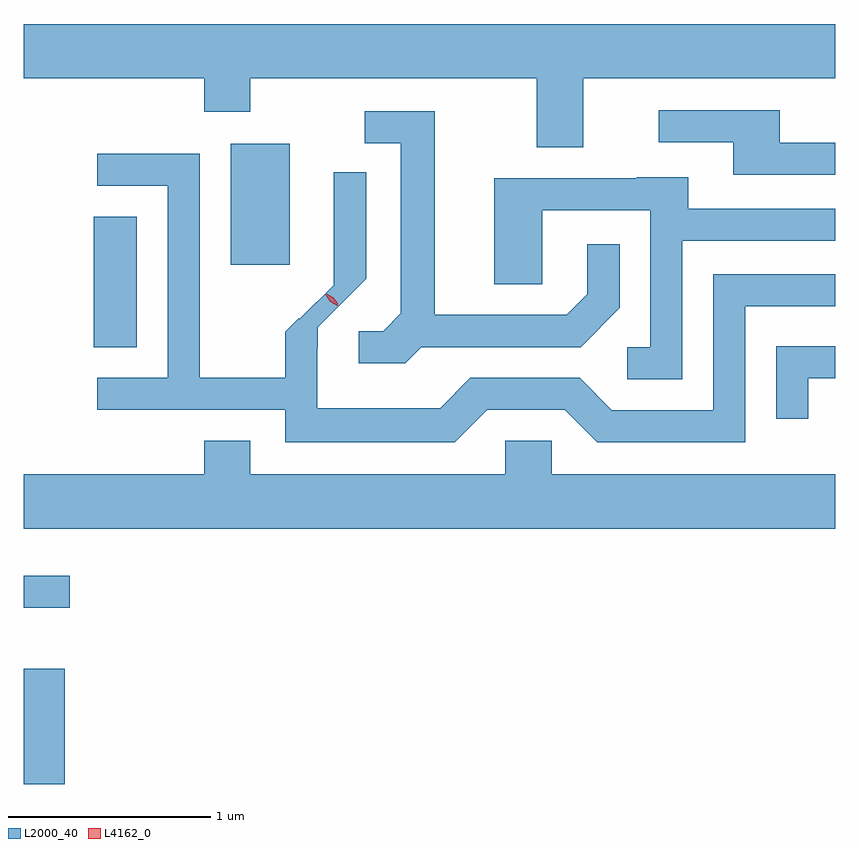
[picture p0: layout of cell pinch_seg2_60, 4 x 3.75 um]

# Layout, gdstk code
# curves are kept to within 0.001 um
import gdstk
lib = gdstk.Library(unit=1e-6, precision=1e-09)
def R(c, l, rs):  # rectangles x0, y0, x1, y1
    for r in rs: c.add(gdstk.rectangle(r[:2], r[2:], *l))
def P(c, l, *ps):  # polygons
    for p in ps: c.add(gdstk.Polygon(p, *l))
L2000_40 = (2000, 40)
L4162_0 = (4162, 0)

pinch_seg2_60 = lib.new_cell('pinch_seg2_60')
R(pinch_seg2_60, L2000_40, [(1125.522,1042.616,1125.724,1043.184), (1125.522,1043.486,1125.748,1043.644), (1125.866,1044.771,1126.079,1045.414), (1126.541,1045.176,1126.834,1045.774)])
P(pinch_seg2_60, L2000_40, [(1128.279,1046.096),(1129.522,1046.096),(1129.522,1046.364),(1125.522,1046.364),(1125.522,1046.096),(1126.411,1046.096),(1126.411,1045.931),(1126.639,1045.931),(1126.639,1046.096),(1128.051,1046.096),(1128.051,1045.756),(1128.279,1045.756)],
  [(1129.522,1045.779),(1129.249,1045.779),(1129.249,1045.939),(1128.653,1045.939),(1128.653,1045.781),(1129.021,1045.781),(1129.021,1045.621),(1129.522,1045.621)],
  [(1127.482,1044.771),(1128.267,1044.771),(1128.459,1044.964),(1128.459,1045.277),(1128.301,1045.277),(1128.301,1045.032),(1128.199,1044.929),(1127.549,1044.929),(1127.549,1045.934),(1127.203,1045.934),(1127.203,1045.776),(1127.381,1045.776),(1127.381,1044.937),(1127.294,1044.849),(1127.173,1044.849),(1127.173,1044.691),(1127.402,1044.691)],
  [(1127.807,1044.461),(1128.189,1044.461),(1128.349,1044.301),(1129.079,1044.301),(1129.079,1044.971),(1129.522,1044.971),(1129.522,1045.129),(1128.921,1045.129),(1128.921,1044.459),(1128.422,1044.459),(1128.262,1044.619),(1127.724,1044.619),(1127.574,1044.469),(1126.969,1044.469),(1126.97,1044.868),(1127.209,1045.107),(1127.209,1045.632),(1127.051,1045.632),(1127.051,1045.176),(1127.049,1045.176),(1127.049,1045.075),(1126.883,1044.91),(1126.878,1044.914),(1126.811,1044.847),(1126.811,1044.619),(1126.389,1044.619),(1126.389,1045.724),(1125.883,1045.724),(1125.883,1045.566),(1126.231,1045.566),(1126.231,1044.619),(1125.883,1044.619),(1125.883,1044.461),(1126.811,1044.461),(1126.811,1044.301),(1127.647,1044.301)],
  [(1128.769,1045.296),(1129.522,1045.296),(1129.522,1045.454),(1128.799,1045.454),(1128.799,1045.609),(1128.545,1045.609),(1128.545,1045.604),(1127.841,1045.604),(1127.841,1045.081),(1128.079,1045.081),(1128.079,1045.446),(1128.611,1045.446),(1128.611,1044.769),(1128.498,1044.769),(1128.498,1044.611),(1128.769,1044.611)],
  [(1129.389,1044.616),(1129.522,1044.616),(1129.522,1044.774),(1129.231,1044.774),(1129.231,1044.418),(1129.389,1044.418)],
  [(1129.522,1044.144),(1128.124,1044.144),(1128.124,1044.309),(1127.896,1044.309),(1127.896,1044.144),(1126.639,1044.144),(1126.639,1044.309),(1126.411,1044.309),(1126.411,1044.144),(1125.522,1044.144),(1125.522,1043.876),(1129.522,1043.876)])
P(pinch_seg2_60, L4162_0, [(1127.072,1044.973),(1127.033,1044.995),(1127.007,1045.032),(1127.007,1045.032),(1127.007,1045.032),(1127.046,1045.01),(1127.073,1044.973),(1127.073,1044.973)],
  [(1127.072,1044.981),(1127.037,1045),(1127.015,1045.032),(1127.015,1045.033),(1127.016,1045.033),(1127.05,1045.014),(1127.072,1044.982),(1127.072,1044.981)])

lib.write_gds('pinch_seg2_60.gds')
